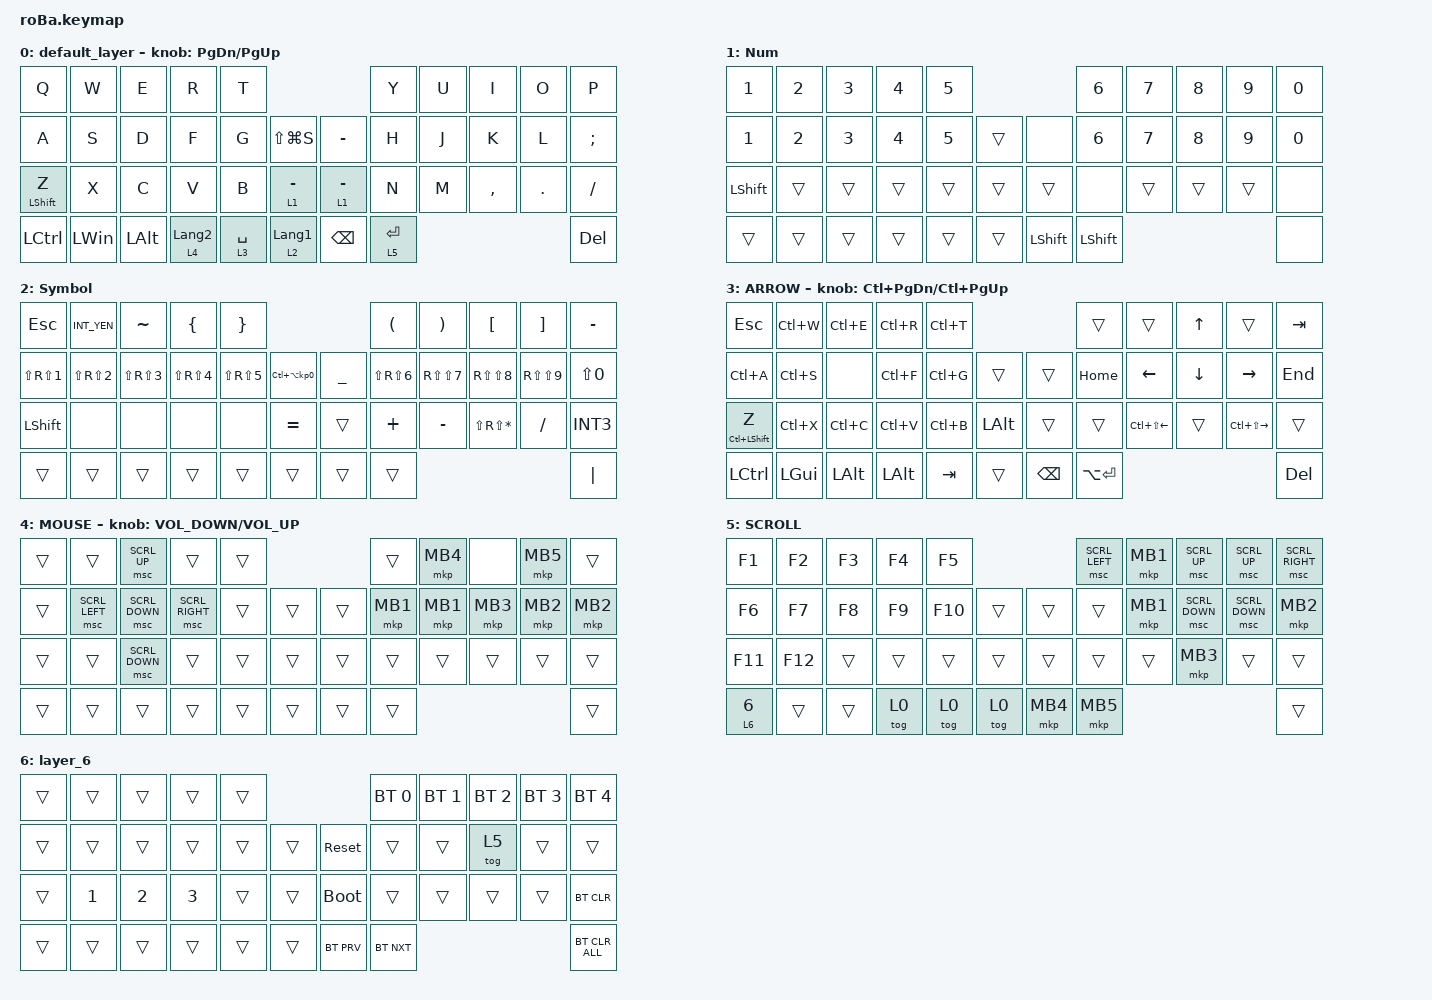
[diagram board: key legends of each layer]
#include <behaviors.dtsi>
#include <dt-bindings/zmk/bt.h>
#include <dt-bindings/zmk/keys.h>
#include <dt-bindings/zmk/pointing.h>

&mt {
    flavor = "balanced";
    quick-tap-ms = <0>;
};

&trackball {
    automouse-layer = <4>;
    scroll-layers = <5>;

    // arrows {
    //     layers = <3>;
    //     bindings =
    //         <&kp RIGHT_ARROW>,
    //         <&kp LEFT_ARROW>,
    //         <&kp UP_ARROW>,
    //         <&kp DOWN_ARROW>;
    //     tick = <10>;
    //     wait-ms = <5>;
    //     tap-ms = <5>;
    // };
};

/ {
    combos {
        compatible = "zmk,combos";

        tab {
            bindings = <&kp TAB>;
            key-positions = <11 12>;
        };

        shift_tab {
            bindings = <&kp LS(TAB)>;
            key-positions = <12 13>;
        };

        muhennkann {
            bindings = <&to_layer_0 INT_MUHENKAN>;
            key-positions = <11 10>;
        };

        double_quotation {
            bindings = <&kp DOUBLE_QUOTES>;
            key-positions = <20 21>;
        };

        eq {
            bindings = <&kp EQUAL>;
            key-positions = <24 25>;
        };
    };

    macros {
        to_layer_0: to_layer_0 {
            compatible = "zmk,behavior-macro-one-param";
            #binding-cells = <1>;
            bindings = <&to 0 &macro_param_1to1 &kp MACRO_PLACEHOLDER>;
            label = "TO_LAYER_0";
        };
    };

    behaviors {
        lt_to_layer_0: lt_to_layer_0 {
            compatible = "zmk,behavior-hold-tap";
            label = "LAYER_TAP_TO_0";
            bindings = <&mo>, <&to_layer_0>;

            #binding-cells = <2>;
            tapping-term-ms = <200>;
        };
    };

    keymap {
        compatible = "zmk,keymap";

        default_layer {
            bindings = <
&kp Q             &kp W         &kp E         &kp R                        &kp T                                             &kp Y        &kp U  &kp I      &kp O    &kp P
&kp A             &kp S         &kp D         &kp F                        &kp G        &kp LS(LG(S))         &kp MINUS      &kp H        &kp J  &kp K      &kp L    &kp SEMICOLON
&mt LEFT_SHIFT Z  &kp X         &kp C         &kp V                        &kp B        &lt 1 MINUS           &lt 1 MINUS    &kp N        &kp M  &kp COMMA  &kp DOT  &kp SLASH
&kp LCTRL         &kp LEFT_WIN  &kp LEFT_ALT  &lt_to_layer_0 4 LANGUAGE_2  &lt 3 SPACE  &lt 2 LANGUAGE_1      &kp BACKSPACE  &lt 5 ENTER                             &kp DEL
            >;

            sensor-bindings = <&inc_dec_kp PAGE_DOWN PAGE_UP>;
        };

        Num {
            bindings = <
&kp NUMBER_1    &kp NUMBER_2  &kp NUMBER_3  &kp NUMBER_4  &kp N5                              &kp NUMBER_6  &kp N7  &kp N8  &kp N9  &kp N0
&kp NUMBER_1    &kp NUMBER_2  &kp NUMBER_3  &kp NUMBER_4  &kp N5  &trans      &none           &kp NUMBER_6  &kp N7  &kp N8  &kp N9  &kp N0
&kp LEFT_SHIFT  &trans        &trans        &trans        &trans  &trans      &trans          &none         &trans  &trans  &trans  &none
&trans          &trans        &trans        &trans        &trans  &trans      &kp LEFT_SHIFT  &kp LSHIFT                            &none
            >;
        };

        Symbol {
            bindings = <
&kp ESC               &kp INT_YEN           &kp TILDE             &kp LEFT_BRACE        &kp RIGHT_BRACE                                               &kp LEFT_PARENTHESIS  &kp RIGHT_PARENTHESIS  &kp LEFT_BRACKET      &kp RIGHT_BRACKET  &kp MINUS
&kp LS(RS(NUMBER_1))  &kp LS(RS(NUMBER_2))  &kp LS(RS(NUMBER_3))  &kp LS(RS(NUMBER_4))  &kp LS(RS(N5))   &kp LC(LA(KP_NUMBER_0))      &kp UNDERSCORE  &kp LS(RS(NUMBER_6))  &kp RS(LS(N7))         &kp RS(LS(N8))        &kp RS(LS(N9))     &kp LS(N0)
&kp LEFT_SHIFT        &none                 &none                 &none                 &none            &kp EQUAL                    &trans          &kp PLUS              &kp MINUS              &kp LS(RS(ASTERISK))  &kp SLASH          &kp INT3
&trans                &trans                &trans                &trans                &trans           &trans                       &trans          &trans                                                                                &kp PIPE
            >;
        };

        ARROW {
            bindings = <
&kp ESCAPE            &kp LC(W)     &kp LC(E)     &kp LC(R)     &kp LC(T)                                   &trans         &trans                  &kp UP_ARROW    &trans                   &kp TAB
&kp LC(A)             &kp LC(S)     &none         &kp LC(F)     &kp LC(G)  &trans            &trans         &kp HOME       &kp LEFT_ARROW          &kp DOWN_ARROW  &kp RIGHT_ARROW          &kp END
&mt LC(LEFT_SHIFT) Z  &kp LC(X)     &kp LC(C)     &kp LC(V)     &kp LC(B)  &kp LEFT_ALT      &trans         &trans         &kp LC(LS(LEFT_ARROW))  &trans          &kp LC(LS(RIGHT_ARROW))  &trans
&kp LEFT_CONTROL      &kp LEFT_GUI  &kp LEFT_ALT  &kp LEFT_ALT  &kp TAB    &trans            &kp BACKSPACE  &kp LA(ENTER)                                                                   &kp DEL
            >;

            sensor-bindings = <&inc_dec_kp LC(PAGE_DOWN) LC(PAGE_UP)>;
        };

        MOUSE {
            bindings = <
&trans  &trans          &msc SCRL_UP    &trans           &trans                      &trans    &mkp MB4  &none     &mkp MB5  &trans
&trans  &msc SCRL_LEFT  &msc SCRL_DOWN  &msc SCRL_RIGHT  &trans  &trans      &trans  &mkp MB1  &mkp MB1  &mkp MB3  &mkp MB2  &mkp MB2
&trans  &trans          &msc SCRL_DOWN  &trans           &trans  &trans      &trans  &trans    &trans    &trans    &trans    &trans
&trans  &trans          &trans          &trans           &trans  &trans      &trans  &trans                                  &trans
            >;

            sensor-bindings = <&inc_dec_kp C_VOLUME_DOWN C_VOLUME_UP>;
        };

        SCROLL {
            bindings = <
&kp F1          &kp F2   &kp F3  &kp F4  &kp F5                         &msc SCRL_LEFT  &mkp MB1  &msc SCRL_UP    &msc SCRL_UP    &msc SCRL_RIGHT
&kp F6          &kp F7   &kp F8  &kp F9  &kp F10  &trans      &trans    &trans          &mkp MB1  &msc SCRL_DOWN  &msc SCRL_DOWN  &mkp MB2
&kp F11         &kp F12  &trans  &trans  &trans   &trans      &trans    &trans          &trans    &mkp MB3        &trans          &trans
&lt 6 NUMBER_6  &trans   &trans  &tog 0  &tog 0   &tog 0      &mkp MB4  &mkp MB5                                                  &trans
            >;
        };

        layer_6 {
            bindings = <
&trans  &trans        &trans        &trans        &trans                           &bt BT_SEL 0  &bt BT_SEL 1  &bt BT_SEL 2  &bt BT_SEL 3  &bt BT_SEL 4
&trans  &trans        &trans        &trans        &trans  &trans      &sys_reset   &trans        &trans        &tog 5        &trans        &trans
&trans  &kp NUMBER_1  &kp NUMBER_2  &kp NUMBER_3  &trans  &trans      &bootloader  &trans        &trans        &trans        &trans        &bt BT_CLR
&trans  &trans        &trans        &trans        &trans  &trans      &bt BT_PRV   &bt BT_NXT                                              &bt BT_CLR_ALL
            >;
        };
    };
};
